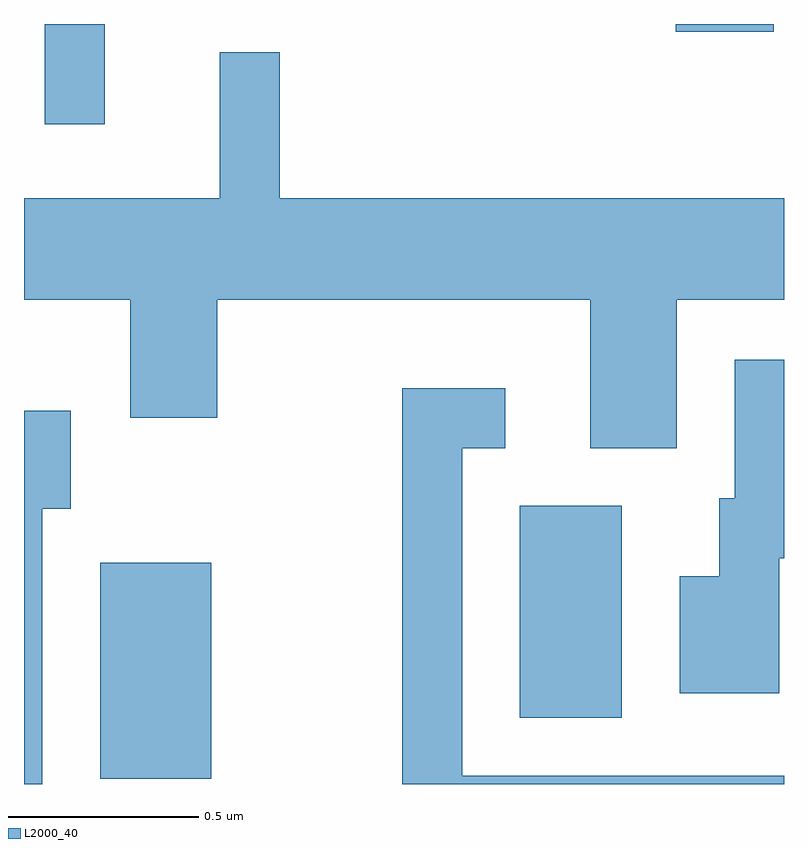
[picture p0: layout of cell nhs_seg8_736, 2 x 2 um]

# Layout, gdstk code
import gdstk
lib = gdstk.Library(unit=1e-6, precision=1e-09)
def R(c, l, rs):  # rectangles x0, y0, x1, y1
    for r in rs: c.add(gdstk.rectangle(r[:2], r[2:], *l))
def P(c, l, *ps):  # polygons
    for p in ps: c.add(gdstk.Polygon(p, *l))
L2000_40 = (2000, 40)

nhs_seg8_736 = lib.new_cell('nhs_seg8_736')
R(nhs_seg8_736, L2000_40, [(190.811,1857.356,191.104,1857.924), (191.916,1857.516,192.184,1858.074), (190.666,1859.078,190.824,1859.342), (192.326,1859.321,192.584,1859.342)])
P(nhs_seg8_736, L2000_40, [(192.329,1858.616),(192.611,1858.616),(192.611,1858.884),(191.284,1858.884),(191.284,1859.268),(191.126,1859.268),(191.126,1858.884),(190.611,1858.884),(190.611,1858.616),(190.891,1858.616),(190.891,1858.306),(191.119,1858.306),(191.119,1858.616),(192.101,1858.616),(192.101,1858.226),(192.329,1858.226)],
  [(192.599,1857.936),(192.611,1857.936),(192.611,1858.459),(192.481,1858.459),(192.481,1858.094),(192.441,1858.094),(192.441,1857.889),(192.336,1857.889),(192.336,1857.581),(192.599,1857.581)],
  [(192.611,1857.364),(191.764,1857.364),(191.764,1858.226),(191.878,1858.226),(191.878,1858.384),(191.606,1858.384),(191.606,1857.342),(192.611,1857.342)],
  [(190.659,1858.066),(190.734,1858.066),(190.734,1858.324),(190.611,1858.324),(190.611,1857.342),(190.659,1857.342)])

lib.write_gds('nhs_seg8_736.gds')
